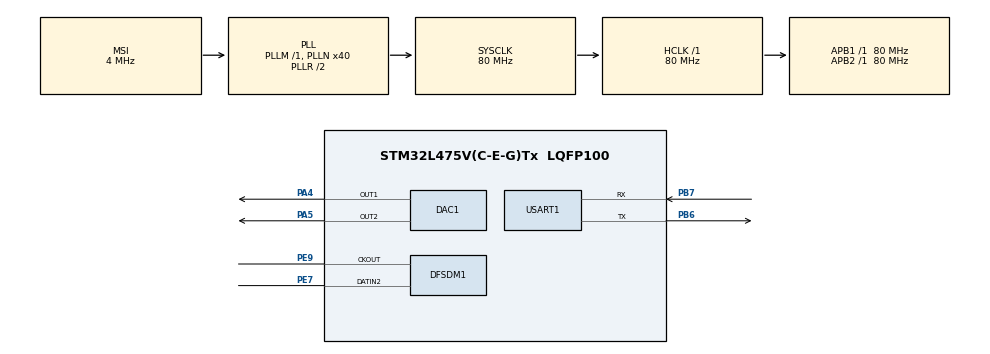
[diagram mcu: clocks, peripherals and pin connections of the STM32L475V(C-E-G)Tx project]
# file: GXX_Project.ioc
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DAC1.DAC_Channel-DAC_OUT2=DAC_CHANNEL_2
DFSDM1.Divider=32
DFSDM1.FastMode_reg_FIL0=ENABLE
DFSDM1.FastMode_reg_FIL1=ENABLE
DFSDM1.Filter_regChannel_FIL0=DFSDM_CHANNEL_1
DFSDM1.Filter_regChannel_FIL1=DFSDM_CHANNEL_2
DFSDM1.Filter_regContinuousMode_FIL0=DFSDM_CONTINUOUS_CONV_ON
DFSDM1.Filter_regContinuousMode_FIL1=DFSDM_CONTINUOUS_CONV_ON
DFSDM1.Fosr_FIL0=128
DFSDM1.Fosr_FIL1=128
DFSDM1.Iosr_FIL0=1
DFSDM1.Iosr_FIL1=1
DFSDM1.Offset_CH1=-1152
DFSDM1.Offset_CH2=-1152
DFSDM1.RightBitShift_CH1=0x0D
DFSDM1.RightBitShift_CH2=0x0D
DFSDM1.Selection=DFSDM_CHANNEL_OUTPUT_CLOCK_AUDIO
DFSDM1.SincOrder_FIL0=DFSDM_FILTER_SINC4_ORDER
DFSDM1.SincOrder_FIL1=DFSDM_FILTER_SINC4_ORDER
DFSDM1.Type_spi_CH1=DFSDM_CHANNEL_SPI_FALLING
FREERTOS.Tasks01=defaultTask,0,128,StartDefaultTask,Default,NULL
Mcu.Family=STM32L4
Mcu.Name=STM32L475V(C-E-G)Tx
Mcu.Package=LQFP100
NVIC.PriorityGroup=NVIC_PRIORITYGROUP_4
NVIC.TIM1_TRG_COM_TIM17_IRQn=true\:0\:0\:false\:false\:true\:false\:false\:true
NVIC.TimeBase=TIM1_TRG_COM_TIM17_IRQn
NVIC.TimeBaseIP=TIM17
PA4.Signal=COMP_DAC11_group
PA5.Signal=COMP_DAC12_group
PB6.Mode=Asynchronous
PB6.Signal=USART1_TX
PB7.Mode=Asynchronous
PB7.Signal=USART1_RX
PE7.Signal=S_DATAIN2DFSDM1
PE9.Signal=S_CKOUTDFSDM1
ProjectManager.HeapSize=0x200
ProjectManager.StackSize=0x400
ProjectManager.TargetToolchain=MDK-ARM V5
RCC.ADCFreq_Value=64000000
RCC.AHBFreq_Value=80000000
RCC.APB1Freq_Value=80000000
RCC.APB1TimFreq_Value=80000000
RCC.APB2Freq_Value=80000000
RCC.APB2TimFreq_Value=80000000
RCC.CortexFreq_Value=80000000
RCC.HCLKFreq_Value=80000000
RCC.HSE_VALUE=8000000
RCC.HSI_VALUE=16000000
RCC.LSE_VALUE=32768
RCC.MSI_VALUE=4000000
RCC.PLLN=40
RCC.PLLSAI1N=32
RCC.SYSCLKFreq_VALUE=80000000
RCC.SYSCLKSource=RCC_SYSCLKSOURCE_PLLCLK
RCC.USBFreq_Value=64000000
RCC.VCOOutputFreq_Value=160000000
SH.COMP_DAC11_group.0=DAC1_OUT1,DAC_OUT1
SH.COMP_DAC12_group.0=DAC1_OUT2,DAC_OUT2
SH.S_CKOUTDFSDM1.0=DFSDM1_CKOUT,PDM_SPI_input_from_ch2_and_internal_clock
SH.S_CKOUTDFSDM1.1=DFSDM1_CKOUT,PDM_SPI_Input_from_ch12_and_Internal_Clock
SH.S_DATAIN2DFSDM1.0=DFSDM1_DATIN2,PDM_SPI_input_from_ch2_and_internal_clock
SH.S_DATAIN2DFSDM1.1=DFSDM1_DATIN2,PDM_SPI_Input_from_ch12_and_Internal_Clock
USART1.VirtualMode-Asynchronous=VM_ASYNC
VP_FREERTOS_VS_ENABLE.Mode=Enabled
VP_SYS_VS_tim17.Mode=TIM17
board=custom

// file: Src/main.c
/**
  ******************************************************************************
  * @file           : main.c
  * @brief          : Main program body
  ******************************************************************************
  * This notice applies to any and all portions of this file
  * that are not between comment pairs USER CODE BEGIN and
  * USER CODE END. Other portions of this file, whether
  * inserted by the user or by software development tools
  * are owned by their respective copyright owners.
  *
  * Copyright (c) 2018 STMicroelectronics International N.V.
  * All rights reserved.
  *
  * Redistribution and use in source and binary forms, with or without
  * modification, are permitted, provided that the following conditions are met:
  *
  * 1. Redistribution of source code must retain the above copyright notice,
  *    this list of conditions and the following disclaimer.
  * 2. Redistributions in binary form must reproduce the above copyright notice,
  *    this list of conditions and the following disclaimer in the documentation
  *    and/or other materials provided with the distribution.
  * 3. Neither the name of STMicroelectronics nor the names of other
  *    contributors to this software may be used to endorse or promote products
  *    derived from this software without specific written permission.
  * 4. This software, including modifications and/or derivative works of this
  *    software, must execute solely and exclusively on microcontroller or
  *    microprocessor devices manufactured by or for STMicroelectronics.
  * 5. Redistribution and use of this software other than as permitted under
  *    this license is void and will automatically terminate your rights under
  *    this license.
  *
  * THIS SOFTWARE IS PROVIDED BY STMICROELECTRONICS AND CONTRIBUTORS "AS IS"
  * AND ANY EXPRESS, IMPLIED OR STATUTORY WARRANTIES, INCLUDING, BUT NOT
  * LIMITED TO, THE IMPLIED WARRANTIES OF MERCHANTABILITY, FITNESS FOR A
  * PARTICULAR PURPOSE AND NON-INFRINGEMENT OF THIRD PARTY INTELLECTUAL PROPERTY
  * RIGHTS ARE DISCLAIMED TO THE FULLEST EXTENT PERMITTED BY LAW. IN NO EVENT
  * SHALL STMICROELECTRONICS OR CONTRIBUTORS BE LIABLE FOR ANY DIRECT, INDIRECT,
  * INCIDENTAL, SPECIAL, EXEMPLARY, OR CONSEQUENTIAL DAMAGES (INCLUDING, BUT NOT
  * LIMITED TO, PROCUREMENT OF SUBSTITUTE GOODS OR SERVICES; LOSS OF USE, DATA,
  * OR PROFITS; OR BUSINESS INTERRUPTION) HOWEVER CAUSED AND ON ANY THEORY OF
  * LIABILITY, WHETHER IN CONTRACT, STRICT LIABILITY, OR TORT (INCLUDING
  * NEGLIGENCE OR OTHERWISE) ARISING IN ANY WAY OUT OF THE USE OF THIS SOFTWARE,
  * EVEN IF ADVISED OF THE POSSIBILITY OF SUCH DAMAGE.
  *
  ******************************************************************************
  */
#include "main.h"
#include "stm32l4xx_hal.h"
#include "cmsis_os.h"

/* USER CODE BEGIN Includes */
#include "arm_math.h"
#include "stm32l475e_iot01_qspi.h"
/* USER CODE END Includes */

DAC_HandleTypeDef hdac1;

DFSDM_Filter_HandleTypeDef hdfsdm1_filter0;
DFSDM_Filter_HandleTypeDef hdfsdm1_filter1;
DFSDM_Channel_HandleTypeDef hdfsdm1_channel1;
DFSDM_Channel_HandleTypeDef hdfsdm1_channel2;

UART_HandleTypeDef huart1;

osThreadId defaultTaskHandle;

/* USER CODE BEGIN PV */
/* Private variables ---------------------------------------------------------*/
int tim3_flag = 0;
int32_t *samples = (int *) 0x90000000;
/* USER CODE END PV */

void SystemClock_Config(void);
static void MX_GPIO_Init(void);
static void MX_USART1_UART_Init(void);
static void MX_DFSDM1_Init(void);
static void MX_DAC1_Init(void);
void StartDefaultTask(void const * argument);

/* USER CODE BEGIN PFP */
/* Private function prototypes -----------------------------------------------*/

/* USER CODE END PFP */

/* USER CODE BEGIN 0 */

int fputc(int ch, FILE *f) {
  while (HAL_OK != HAL_UART_Transmit(&huart1, (uint8_t *) &ch, 1, 30000));
  return ch;
}
int fgetc(FILE *f) {
  uint8_t ch = 0;
  while (HAL_OK != HAL_UART_Receive(&huart1, (uint8_t *)&ch, 1, 30000));
  return ch;
}

/* USER CODE END 0 */

int main(void)
{

  /* MCU Configuration----------------------------------------------------------*/

  /* Reset of all peripherals, Initializes the Flash interface and the Systick. */
  HAL_Init();

  /* Configure the system clock */
  SystemClock_Config();

  /* Initialize all configured peripherals */
  MX_GPIO_Init();
  MX_USART1_UART_Init();
  MX_DFSDM1_Init();
  MX_DAC1_Init();
  /* USER CODE BEGIN 2 */
	HAL_DAC_Start(&hdac1, DAC_CHANNEL_1);
	HAL_DAC_Start(&hdac1, DAC_CHANNEL_2);
	if (BSP_QSPI_Init() == QSPI_OK) {
		printf("qspi init successful\n");
	}

	// float temp = 123.45;
	/*
	if (BSP_QSPI_Write((uint8_t *) &temp, 0, 4) == QSPI_OK) {
		printf("write ok\n");
	}

	float read;
	if (BSP_QSPI_Read((uint8_t *) &read, 0, 4) == QSPI_OK) {
		printf("read ok\n");
		printf("%f\n", read)
		;
	}
	*/
	//BSP_QSPI_EnableMemoryMappedMode();

	float temp;
	int conv;
	for (int i = 0; i < 32000; i++) {
		temp = arm_sin_f32(2 * PI * 440 * i / 16000);
		temp = temp + 1;
		temp = temp * 0x400;
		conv = (int) temp;
		BSP_QSPI_Write((uint8_t *) &conv, i * 4, 4);
	}

	uint32_t readtest;
	for (int i = 0; i < 32000; i++) {
		BSP_QSPI_Read((uint8_t *) &readtest, i * 4, 4);
		printf("%d - %d\n", i, readtest);
	}
  /* USER CODE END 2 */

  /* Create the thread(s) */
  /* definition and creation of defaultTask */
  osThreadDef(defaultTask, StartDefaultTask, osPriorityNormal, 0, 128);
  defaultTaskHandle = osThreadCreate(osThread(defaultTask), NULL);

  /* Start scheduler */
  osKernelStart();

  /* We should never get here as control is now taken by the scheduler */

  /* Infinite loop */
	while (1)
  {
  }
}

void SystemClock_Config(void)
{

  RCC_OscInitTypeDef RCC_OscInitStruct;
  RCC_ClkInitTypeDef RCC_ClkInitStruct;
  RCC_PeriphCLKInitTypeDef PeriphClkInit;

    /**Initializes the CPU, AHB and APB busses clocks
    */
  RCC_OscInitStruct.OscillatorType = RCC_OSCILLATORTYPE_MSI;
  RCC_OscInitStruct.MSIState = RCC_MSI_ON;
  RCC_OscInitStruct.MSICalibrationValue = 0;
  RCC_OscInitStruct.MSIClockRange = RCC_MSIRANGE_6;
  RCC_OscInitStruct.PLL.PLLState = RCC_PLL_ON;
  RCC_OscInitStruct.PLL.PLLSource = RCC_PLLSOURCE_MSI;
  RCC_OscInitStruct.PLL.PLLM = 1;
  RCC_OscInitStruct.PLL.PLLN = 40;
  RCC_OscInitStruct.PLL.PLLP = RCC_PLLP_DIV7;
  RCC_OscInitStruct.PLL.PLLQ = RCC_PLLQ_DIV2;
  RCC_OscInitStruct.PLL.PLLR = RCC_PLLR_DIV2;
  if (HAL_RCC_OscConfig(&RCC_OscInitStruct) != HAL_OK)
  {
    _Error_Handler(__FILE__, __LINE__);
  }

    /**Initializes the CPU, AHB and APB busses clocks
    */
  RCC_ClkInitStruct.ClockType = RCC_CLOCKTYPE_HCLK|RCC_CLOCKTYPE_SYSCLK
                              |RCC_CLOCKTYPE_PCLK1|RCC_CLOCKTYPE_PCLK2;
  RCC_ClkInitStruct.SYSCLKSource = RCC_SYSCLKSOURCE_PLLCLK;
  RCC_ClkInitStruct.AHBCLKDivider = RCC_SYSCLK_DIV1;
  RCC_ClkInitStruct.APB1CLKDivider = RCC_HCLK_DIV1;
  RCC_ClkInitStruct.APB2CLKDivider = RCC_HCLK_DIV1;

  if (HAL_RCC_ClockConfig(&RCC_ClkInitStruct, FLASH_LATENCY_4) != HAL_OK)
  {
    _Error_Handler(__FILE__, __LINE__);
  }

  PeriphClkInit.PeriphClockSelection = RCC_PERIPHCLK_USART1|RCC_PERIPHCLK_SAI1
                              |RCC_PERIPHCLK_DFSDM1;
  PeriphClkInit.Usart1ClockSelection = RCC_USART1CLKSOURCE_PCLK2;
  PeriphClkInit.Sai1ClockSelection = RCC_SAI1CLKSOURCE_PLLSAI1;
  PeriphClkInit.Dfsdm1ClockSelection = RCC_DFSDM1CLKSOURCE_PCLK;
  PeriphClkInit.PLLSAI1.PLLSAI1Source = RCC_PLLSOURCE_MSI;
  PeriphClkInit.PLLSAI1.PLLSAI1M = 1;
  PeriphClkInit.PLLSAI1.PLLSAI1N = 32;
  PeriphClkInit.PLLSAI1.PLLSAI1P = RCC_PLLP_DIV7;
  PeriphClkInit.PLLSAI1.PLLSAI1Q = RCC_PLLQ_DIV2;
  PeriphClkInit.PLLSAI1.PLLSAI1R = RCC_PLLR_DIV2;
  PeriphClkInit.PLLSAI1.PLLSAI1ClockOut = RCC_PLLSAI1_SAI1CLK;
  if (HAL_RCCEx_PeriphCLKConfig(&PeriphClkInit) != HAL_OK)
  {
    _Error_Handler(__FILE__, __LINE__);
  }

    /**Configure the main internal regulator output voltage
    */
  if (HAL_PWREx_ControlVoltageScaling(PWR_REGULATOR_VOLTAGE_SCALE1) != HAL_OK)
  {
    _Error_Handler(__FILE__, __LINE__);
  }

    /**Configure the Systick interrupt time
    */
  HAL_SYSTICK_Config(HAL_RCC_GetHCLKFreq()/1000);

    /**Configure the Systick
    */
  HAL_SYSTICK_CLKSourceConfig(SYSTICK_CLKSOURCE_HCLK);

  /* SysTick_IRQn interrupt configuration */
  HAL_NVIC_SetPriority(SysTick_IRQn, 15, 0);
}

/* DAC1 init function */
static void MX_DAC1_Init(void)
{

  DAC_ChannelConfTypeDef sConfig;

    /**DAC Initialization
    */
  hdac1.Instance = DAC1;
  if (HAL_DAC_Init(&hdac1) != HAL_OK)
  {
    _Error_Handler(__FILE__, __LINE__);
  }

    /**DAC channel OUT1 config
    */
  sConfig.DAC_SampleAndHold = DAC_SAMPLEANDHOLD_DISABLE;
  sConfig.DAC_Trigger = DAC_TRIGGER_NONE;
  sConfig.DAC_OutputBuffer = DAC_OUTPUTBUFFER_ENABLE;
  sConfig.DAC_ConnectOnChipPeripheral = DAC_CHIPCONNECT_DISABLE;
  sConfig.DAC_UserTrimming = DAC_TRIMMING_FACTORY;
  if (HAL_DAC_ConfigChannel(&hdac1, &sConfig, DAC_CHANNEL_1) != HAL_OK)
  {
    _Error_Handler(__FILE__, __LINE__);
  }

    /**DAC channel OUT2 config
    */
  sConfig.DAC_ConnectOnChipPeripheral = DAC_CHIPCONNECT_DISABLE;
  if (HAL_DAC_ConfigChannel(&hdac1, &sConfig, DAC_CHANNEL_2) != HAL_OK)
  {
    _Error_Handler(__FILE__, __LINE__);
  }

}

/* DFSDM1 init function */
static void MX_DFSDM1_Init(void)
{

  hdfsdm1_filter0.Instance = DFSDM1_Filter0;
  hdfsdm1_filter0.Init.RegularParam.Trigger = DFSDM_FILTER_SW_TRIGGER;
  hdfsdm1_filter0.Init.RegularParam.FastMode = ENABLE;
  hdfsdm1_filter0.Init.RegularParam.DmaMode = DISABLE;
  hdfsdm1_filter0.Init.FilterParam.SincOrder = DFSDM_FILTER_SINC4_ORDER;
  hdfsdm1_filter0.Init.FilterParam.Oversampling = 128;
  hdfsdm1_filter0.Init.FilterParam.IntOversampling = 1;
  if (HAL_DFSDM_FilterInit(&hdfsdm1_filter0) != HAL_OK)
  {
    _Error_Handler(__FILE__, __LINE__);
  }

  hdfsdm1_filter1.Instance = DFSDM1_Filter1;
  hdfsdm1_filter1.Init.RegularParam.Trigger = DFSDM_FILTER_SW_TRIGGER;
  hdfsdm1_filter1.Init.RegularParam.FastMode = ENABLE;
  hdfsdm1_filter1.Init.RegularParam.DmaMode = DISABLE;
  hdfsdm1_filter1.Init.FilterParam.SincOrder = DFSDM_FILTER_SINC4_ORDER;
  hdfsdm1_filter1.Init.FilterParam.Oversampling = 128;
  hdfsdm1_filter1.Init.FilterParam.IntOversampling = 1;
  if (HAL_DFSDM_FilterInit(&hdfsdm1_filter1) != HAL_OK)
  {
    _Error_Handler(__FILE__, __LINE__);
  }

  hdfsdm1_channel1.Instance = DFSDM1_Channel1;
  hdfsdm1_channel1.Init.OutputClock.Activation = ENABLE;
  hdfsdm1_channel1.Init.OutputClock.Selection = DFSDM_CHANNEL_OUTPUT_CLOCK_AUDIO;
  hdfsdm1_channel1.Init.OutputClock.Divider = 32;
  hdfsdm1_channel1.Init.Input.Multiplexer = DFSDM_CHANNEL_EXTERNAL_INPUTS;
  hdfsdm1_channel1.Init.Input.DataPacking = DFSDM_CHANNEL_STANDARD_MODE;
  hdfsdm1_channel1.Init.Input.Pins = DFSDM_CHANNEL_FOLLOWING_CHANNEL_PINS;
  hdfsdm1_channel1.Init.SerialInterface.Type = DFSDM_CHANNEL_SPI_FALLING;
  hdfsdm1_channel1.Init.SerialInterface.SpiClock = DFSDM_CHANNEL_SPI_CLOCK_INTERNAL;
  hdfsdm1_channel1.Init.Awd.FilterOrder = DFSDM_CHANNEL_FASTSINC_ORDER;
  hdfsdm1_channel1.Init.Awd.Oversampling = 1;
  hdfsdm1_channel1.Init.Offset = -1152;
  hdfsdm1_channel1.Init.RightBitShift = 0x0D;
  if (HAL_DFSDM_ChannelInit(&hdfsdm1_channel1) != HAL_OK)
  {
    _Error_Handler(__FILE__, __LINE__);
  }

  hdfsdm1_channel2.Instance = DFSDM1_Channel2;
  hdfsdm1_channel2.Init.OutputClock.Activation = ENABLE;
  hdfsdm1_channel2.Init.OutputClock.Selection = DFSDM_CHANNEL_OUTPUT_CLOCK_AUDIO;
  hdfsdm1_channel2.Init.OutputClock.Divider = 32;
  hdfsdm1_channel2.Init.Input.Multiplexer = DFSDM_CHANNEL_EXTERNAL_INPUTS;
  hdfsdm1_channel2.Init.Input.DataPacking = DFSDM_CHANNEL_STANDARD_MODE;
  hdfsdm1_channel2.Init.Input.Pins = DFSDM_CHANNEL_SAME_CHANNEL_PINS;
  hdfsdm1_channel2.Init.SerialInterface.Type = DFSDM_CHANNEL_SPI_RISING;
  hdfsdm1_channel2.Init.SerialInterface.SpiClock = DFSDM_CHANNEL_SPI_CLOCK_INTERNAL;
  hdfsdm1_channel2.Init.Awd.FilterOrder = DFSDM_CHANNEL_FASTSINC_ORDER;
  hdfsdm1_channel2.Init.Awd.Oversampling = 1;
  hdfsdm1_channel2.Init.Offset = -1152;
  hdfsdm1_channel2.Init.RightBitShift = 0x0D;
  if (HAL_DFSDM_ChannelInit(&hdfsdm1_channel2) != HAL_OK)
  {
    _Error_Handler(__FILE__, __LINE__);
  }

  if (HAL_DFSDM_FilterConfigRegChannel(&hdfsdm1_filter0, DFSDM_CHANNEL_1, DFSDM_CONTINUOUS_CONV_ON) != HAL_OK)
  {
    _Error_Handler(__FILE__, __LINE__);
  }

  if (HAL_DFSDM_FilterConfigRegChannel(&hdfsdm1_filter1, DFSDM_CHANNEL_2, DFSDM_CONTINUOUS_CONV_ON) != HAL_OK)
  {
    _Error_Handler(__FILE__, __LINE__);
  }

}

/* USART1 init function */
static void MX_USART1_UART_Init(void)
{

  huart1.Instance = USART1;
  huart1.Init.BaudRate = 115200;
  huart1.Init.WordLength = UART_WORDLENGTH_8B;
  huart1.Init.StopBits = UART_STOPBITS_1;
  huart1.Init.Parity = UART_PARITY_NONE;
  huart1.Init.Mode = UART_MODE_TX_RX;
  huart1.Init.HwFlowCtl = UART_HWCONTROL_NONE;
  huart1.Init.OverSampling = UART_OVERSAMPLING_16;
  huart1.Init.OneBitSampling = UART_ONE_BIT_SAMPLE_DISABLE;
  huart1.AdvancedInit.AdvFeatureInit = UART_ADVFEATURE_NO_INIT;
  if (HAL_UART_Init(&huart1) != HAL_OK)
  {
    _Error_Handler(__FILE__, __LINE__);
  }

}

/** Pinout Configuration
*/
static void MX_GPIO_Init(void)
{

  /* GPIO Ports Clock Enable */
  __HAL_RCC_GPIOA_CLK_ENABLE();
  __HAL_RCC_GPIOE_CLK_ENABLE();
  __HAL_RCC_GPIOB_CLK_ENABLE();

}

/* StartDefaultTask function */
void StartDefaultTask(void const * argument)
{

  for(;;)
  {
    osDelay(1);
  }
}

void HAL_TIM_PeriodElapsedCallback(TIM_HandleTypeDef *htim)
{
  if (htim->Instance == TIM17) {
    HAL_IncTick();
  }
}

void _Error_Handler(char *file, int line)
{
  while(1)
  {
  }
}

/************************ (C) COPYRIGHT STMicroelectronics *****END OF FILE****/
